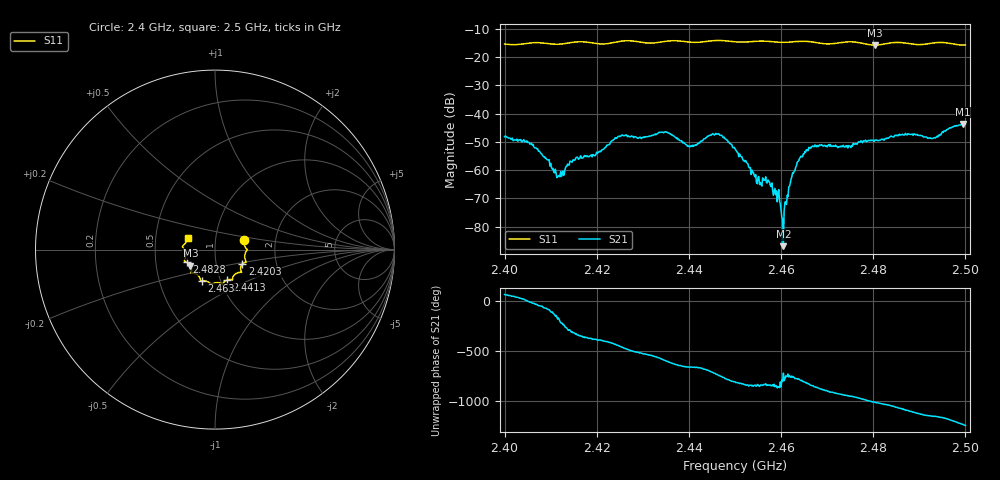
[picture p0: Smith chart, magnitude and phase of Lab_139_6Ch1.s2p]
# Hz S RI R 50
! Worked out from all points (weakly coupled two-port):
!   601 points, 2.4 GHz to 2.5 GHz, reference 50 ohm
!   highest |S21| = -43.60 dB at 2.4995 GHz (marker M1); lowest = -86.9 dB at 2.4605 GHz (marker M2)
!   lowest |S11| = -15.7 dB at 2.4803 GHz (marker M3), VSWR 1.39, Z = 37.4 - j6.82 ohm
!   |S11| at or under -10 dB: start of sweep to end of sweep
!   S12 and S22 are empty: the file has one direction only
!   S11 on the Smith chart (normalised r, x): 2.4 GHz: 1.38, +0.15; 2.4203 GHz: 1.34, -0.22; 2.4413 GHz: 1.08, -0.38; 2.463 GHz: 0.82, -0.29; 2.4828 GHz: 0.72, -0.10; 2.5 GHz: 0.73, +0.10
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2.4e9  0.1625 0.0523  0.00175 0.00349  0 0  0 0
2.405667e9  0.1786 0.00187  0.00291 -0.000632  0 0  0 0
2.411833e9  0.1657 -0.0346  -0.000808 6.82e-05  0 0  0 0
2.416667e9  0.1737 -0.0695  0.00162 0.000173  0 0  0 0
2.420333e9  0.1526 -0.0799  0.00174 -0.00117  0 0  0 0
2.425e9  0.1465 -0.1216  -0.000241 -0.00392  0 0  0 0
2.433333e9  0.1003 -0.1516  -0.00402 0.00213  0 0  0 0
2.441333e9  0.0674 -0.1696  0.00155 0.00232  0 0  0 0
2.446167e9  0.0418 -0.1928  0.00416 -0.00121  0 0  0 0
2.45e9  0.0246 -0.1854  8.59e-05 -0.0024  0 0  0 0
2.455167e9  -0.0171 -0.1911  -0.000488 -0.000599  0 0  0 0
2.457667e9  -0.0284 -0.1869  -0.000271 -0.000468  0 0  0 0
2.459167e9  -0.039 -0.1803  -0.000239 -0.000137  0 0  0 0
2.4605e9  -0.051 -0.1754  4.52e-05 -1.7e-06  0 0  0 0
2.463e9  -0.0722 -0.1735  0.00053 -0.000826  0 0  0 0
2.466667e9  -0.0811 -0.1674  -0.00159 -0.00207  0 0  0 0
2.480333e9  -0.137 -0.0887  0.00139 0.00312  0 0  0 0
2.482833e9  -0.1586 -0.0702  0.00263 0.00248  0 0  0 0
2.483333e9  -0.1625 -0.0686  0.00291 0.00228  0 0  0 0
2.493e9  -0.1781 0.00961  0.000923 -0.00355  0 0  0 0
2.4995e9  -0.1536 0.0569  -0.00605 -0.00265  0 0  0 0
2.5e9  -0.1517 0.064  -0.00617 -0.00158  0 0  0 0
